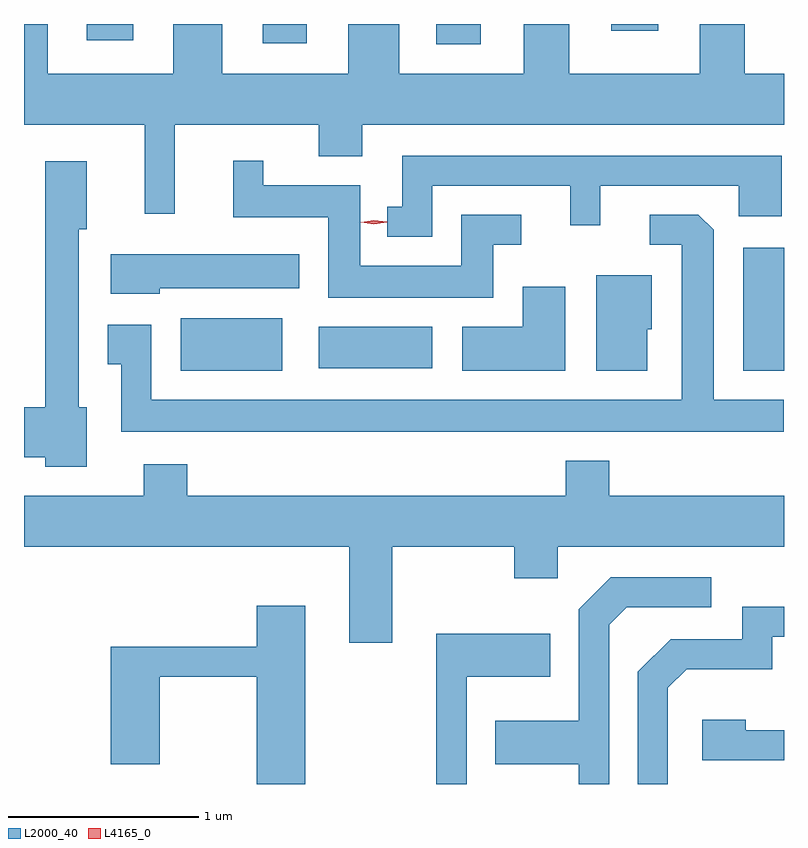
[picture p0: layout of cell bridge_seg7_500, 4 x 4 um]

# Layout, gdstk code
import gdstk
lib = gdstk.Library(unit=1e-6, precision=1e-09)
def R(c, l, rs):  # rectangles x0, y0, x1, y1
    for r in rs: c.add(gdstk.rectangle(r[:2], r[2:], *l))
def P(c, l, *ps):  # polygons
    for p in ps: c.add(gdstk.Polygon(p, *l))
L2000_40 = (2000, 40)
L4165_0 = (4165, 0)

bridge_seg7_500 = lib.new_cell('bridge_seg7_500')
R(bridge_seg7_500, L2000_40, [(1345.246,1690.821,1345.779,1691.099), (1348.206,1690.821,1348.42,1691.469), (1345.971,1690.836,1346.569,1691.054), (1346.591,1692.541,1346.824,1692.647), (1345.676,1692.546,1345.909,1692.647), (1344.751,1692.561,1344.994,1692.647), (1347.511,1692.611,1347.759,1692.647)])
P(bridge_seg7_500, L2000_40, [(1345.214,1692.116),(1345.971,1692.116),(1345.971,1691.951),(1346.199,1691.951),(1346.199,1692.116),(1348.42,1692.116),(1348.42,1692.384),(1348.214,1692.384),(1348.214,1692.647),(1347.976,1692.647),(1347.976,1692.384),(1347.289,1692.384),(1347.289,1692.647),(1347.051,1692.647),(1347.051,1692.384),(1346.394,1692.384),(1346.394,1692.647),(1346.126,1692.647),(1346.126,1692.384),(1345.464,1692.384),(1345.464,1692.647),(1345.206,1692.647),(1345.206,1692.384),(1344.544,1692.384),(1344.544,1692.647),(1344.42,1692.647),(1344.42,1692.116),(1345.056,1692.116),(1345.056,1691.648),(1345.214,1691.648)],
  [(1346.569,1691.796),(1347.296,1691.796),(1347.296,1691.588),(1347.454,1691.588),(1347.454,1691.796),(1348.181,1691.796),(1348.181,1691.636),(1348.409,1691.636),(1348.409,1691.954),(1346.411,1691.954),(1346.411,1691.684),(1346.333,1691.684),(1346.333,1691.526),(1346.569,1691.526)],
  [(1346.889,1691.486),(1347.038,1691.486),(1347.038,1691.644),(1346.721,1691.644),(1346.721,1691.374),(1346.189,1691.374),(1346.189,1691.799),(1345.679,1691.799),(1345.679,1691.928),(1345.521,1691.928),(1345.521,1691.631),(1346.021,1691.631),(1346.021,1691.206),(1346.889,1691.206)],
  [(1344.749,1690.629),(1344.709,1690.629),(1344.709,1691.566),(1344.749,1691.566),(1344.749,1691.924),(1344.531,1691.924),(1344.531,1690.629),(1344.42,1690.629),(1344.42,1690.366),(1344.531,1690.366),(1344.531,1690.316),(1344.749,1690.316)],
  [(1348.418,1690.669),(1348.049,1690.669),(1348.049,1691.564),(1347.969,1691.644),(1347.713,1691.644),(1347.713,1691.486),(1347.881,1691.486),(1347.881,1690.669),(1345.089,1690.669),(1345.089,1691.064),(1344.861,1691.064),(1344.861,1690.856),(1344.931,1690.856),(1344.931,1690.501),(1348.418,1690.501)],
  [(1345.134,1691.256),(1345.869,1691.256),(1345.869,1691.434),(1344.876,1691.434),(1344.876,1691.226),(1345.134,1691.226)],
  [(1347.699,1691.041),(1347.724,1691.041),(1347.724,1691.324),(1347.431,1691.324),(1347.431,1690.821),(1347.699,1690.821)],
  [(1347.269,1691.264),(1347.046,1691.264),(1347.046,1691.054),(1346.726,1691.054),(1346.726,1690.821),(1347.269,1690.821)],
  [(1346.359,1689.896),(1347.001,1689.896),(1347.001,1689.731),(1347.229,1689.731),(1347.229,1689.896),(1348.42,1689.896),(1348.42,1690.164),(1347.499,1690.164),(1347.499,1690.349),(1347.271,1690.349),(1347.271,1690.164),(1345.279,1690.164),(1345.279,1690.329),(1345.051,1690.329),(1345.051,1690.164),(1344.42,1690.164),(1344.42,1689.896),(1346.131,1689.896),(1346.131,1689.391),(1346.359,1689.391)],
  [(1347.499,1689.484),(1347.592,1689.576),(1348.038,1689.576),(1348.038,1689.734),(1347.509,1689.734),(1347.341,1689.567),(1347.341,1688.979),(1346.901,1688.979),(1346.901,1688.751),(1347.341,1688.751),(1347.341,1688.647),(1347.499,1688.647)],
  [(1345.899,1689.584),(1345.646,1689.584),(1345.646,1689.369),(1344.876,1689.369),(1344.876,1688.751),(1345.134,1688.751),(1345.134,1689.211),(1345.646,1689.211),(1345.646,1688.647),(1345.899,1688.647)],
  [(1347.809,1689.154),(1347.907,1689.251),(1348.359,1689.251),(1348.359,1689.421),(1348.42,1689.421),(1348.42,1689.579),(1348.201,1689.579),(1348.201,1689.409),(1347.824,1689.409),(1347.651,1689.237),(1347.651,1688.647),(1347.809,1688.647)],
  [(1346.749,1689.211),(1347.189,1689.211),(1347.189,1689.439),(1346.591,1689.439),(1346.591,1688.647),(1346.749,1688.647)],
  [(1348.42,1688.929),(1348.219,1688.929),(1348.219,1688.984),(1347.991,1688.984),(1347.991,1688.771),(1348.42,1688.771)])
P(bridge_seg7_500, L4165_0, [(1346.262,1691.594),(1346.192,1691.603),(1346.192,1691.604),(1346.192,1691.604),(1346.262,1691.614),(1346.331,1691.605),(1346.331,1691.604),(1346.331,1691.604)])

lib.write_gds('bridge_seg7_500.gds')
